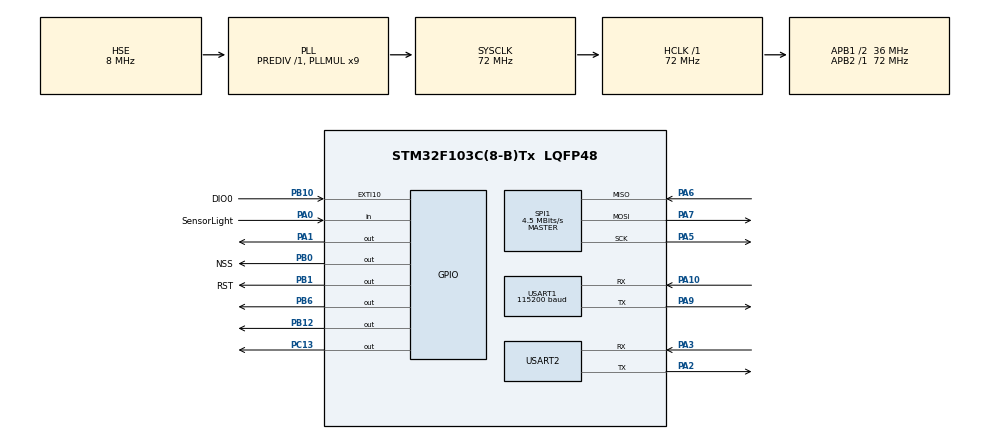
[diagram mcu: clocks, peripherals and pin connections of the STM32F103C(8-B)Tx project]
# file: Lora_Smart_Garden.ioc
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Dma.Request0=USART1_RX
Dma.Request1=USART2_RX
Dma.USART1_RX.0.Direction=DMA_PERIPH_TO_MEMORY
Dma.USART1_RX.0.Instance=DMA1_Channel5
Dma.USART1_RX.0.MemDataAlignment=DMA_MDATAALIGN_BYTE
Dma.USART1_RX.0.MemInc=DMA_MINC_ENABLE
Dma.USART1_RX.0.Mode=DMA_CIRCULAR
Dma.USART1_RX.0.PeriphDataAlignment=DMA_PDATAALIGN_BYTE
Dma.USART1_RX.0.PeriphInc=DMA_PINC_DISABLE
Dma.USART1_RX.0.Priority=DMA_PRIORITY_LOW
Dma.USART2_RX.1.Direction=DMA_PERIPH_TO_MEMORY
Dma.USART2_RX.1.Instance=DMA1_Channel6
Dma.USART2_RX.1.MemDataAlignment=DMA_MDATAALIGN_BYTE
Dma.USART2_RX.1.MemInc=DMA_MINC_ENABLE
Dma.USART2_RX.1.Mode=DMA_CIRCULAR
Dma.USART2_RX.1.PeriphDataAlignment=DMA_PDATAALIGN_BYTE
Dma.USART2_RX.1.PeriphInc=DMA_PINC_DISABLE
Dma.USART2_RX.1.Priority=DMA_PRIORITY_LOW
IWDG.Prescaler=IWDG_PRESCALER_64
IWDG.Reload=1874
Mcu.Family=STM32F1
Mcu.Name=STM32F103C(8-B)Tx
Mcu.Package=LQFP48
NVIC.DMA1_Channel5_IRQn=true\:0\:0\:false\:false\:true\:false\:true\:true
NVIC.DMA1_Channel6_IRQn=true\:0\:0\:false\:false\:true\:false\:true\:true
NVIC.EXTI15_10_IRQn=true\:0\:0\:false\:false\:true\:true\:true\:true
NVIC.PriorityGroup=NVIC_PRIORITYGROUP_4
NVIC.TIM3_IRQn=true\:15\:0\:false\:false\:true\:false\:true\:true
NVIC.TimeBase=TIM3_IRQn
NVIC.TimeBaseIP=TIM3
NVIC.USART1_IRQn=true\:0\:0\:false\:false\:true\:true\:true\:true
PA0-WKUP.GPIO_Label=SensorLight
PA0-WKUP.GPIO_PuPd=GPIO_NOPULL
PA0-WKUP.Signal=GPIO_Input
PA1.Signal=GPIO_Output
PA10.Mode=Asynchronous
PA10.Signal=USART1_RX
PA13.Mode=Serial_Wire
PA13.Signal=SYS_JTMS-SWDIO
PA14.Mode=Serial_Wire
PA14.Signal=SYS_JTCK-SWCLK
PA2.Mode=Asynchronous
PA2.Signal=USART2_TX
PA3.Mode=Asynchronous
PA3.Signal=USART2_RX
PA5.Mode=Full_Duplex_Master
PA5.Signal=SPI1_SCK
PA6.Mode=Full_Duplex_Master
PA6.Signal=SPI1_MISO
PA7.Mode=Full_Duplex_Master
PA7.Signal=SPI1_MOSI
PA9.Mode=Asynchronous
PA9.Signal=USART1_TX
PB0.GPIO_Label=NSS
PB0.PinState=GPIO_PIN_SET
PB0.Signal=GPIO_Output
PB1.GPIO_Label=RST
PB1.PinState=GPIO_PIN_SET
PB1.Signal=GPIO_Output
PB10.GPIO_Label=DIO0
PB10.Signal=GPXTI10
PB12.GPIO_PuPd=GPIO_PULLDOWN
PB12.Signal=GPIO_Output
PB6.GPIO_PuPd=GPIO_PULLDOWN
PB6.Signal=GPIO_Output
PC13-TAMPER-RTC.Signal=GPIO_Output
PD0-OSC_IN.Mode=HSE-External-Oscillator
PD0-OSC_IN.Signal=RCC_OSC_IN
PD1-OSC_OUT.Mode=HSE-External-Oscillator
PD1-OSC_OUT.Signal=RCC_OSC_OUT
ProjectManager.HeapSize=0x200
ProjectManager.StackSize=0x400
ProjectManager.TargetToolchain=STM32CubeIDE
RCC.AHBFreq_Value=72000000
RCC.APB1CLKDivider=RCC_HCLK_DIV2
RCC.APB1Freq_Value=36000000
RCC.APB1TimFreq_Value=72000000
RCC.APB2Freq_Value=72000000
RCC.APB2TimFreq_Value=72000000
RCC.HCLKFreq_Value=72000000
RCC.PLLMUL=RCC_PLL_MUL9
RCC.PLLSourceVirtual=RCC_PLLSOURCE_HSE
RCC.SYSCLKFreq_VALUE=72000000
RCC.SYSCLKSource=RCC_SYSCLKSOURCE_PLLCLK
RCC.USBFreq_Value=72000000
SPI1.BaudRatePrescaler=SPI_BAUDRATEPRESCALER_16
SPI1.CalculateBaudRate=4.5 MBits/s
SPI1.DataSize=SPI_DATASIZE_8BIT
SPI1.Direction=SPI_DIRECTION_2LINES
SPI1.Mode=SPI_MODE_MASTER
SPI1.VirtualType=VM_MASTER
TIM1.Period=0xffff-1
TIM1.Prescaler=72-1
USART1.BaudRate=115200
USART1.VirtualMode=VM_ASYNC
USART1.WordLength=WORDLENGTH_8B
USART2.VirtualMode=VM_ASYNC
USART2.WordLength=WORDLENGTH_8B
VP_IWDG_VS_IWDG.Mode=IWDG_Activate
VP_SYS_VS_tim3.Mode=TIM3
VP_TIM1_VS_ClockSourceINT.Mode=Internal
board=custom

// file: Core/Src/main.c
/* USER CODE BEGIN Header */
/**
  ******************************************************************************
  * @file           : main.c
  * @brief          : Main program body
  ******************************************************************************
  * @attention
  *
  * Copyright (c) 2024 STMicroelectronics.
  * All rights reserved.
  *
  * This software is licensed under terms that can be found in the LICENSE file
  * in the root directory of this software component.
  * If no LICENSE file comes with this software, it is provided AS-IS.
  *
  ******************************************************************************
  */
/* USER CODE END Header */
#include "main.h"
#include "dma.h"
#include "iwdg.h"
#include "spi.h"
#include "tim.h"
#include "usart.h"
#include "gpio.h"

/* USER CODE BEGIN Includes */
#include "LoRa.h"
#include "dht.h"
/* USER CODE END Includes */

/* USER CODE BEGIN PV */
LoRa myLoRa;
uint8_t LoraState = 0;
static uint8_t TxData[10] = {0};
static uint8_t RxData[10] = {0};
static uint8_t RxDataUart[8];
static uint8_t TxDataUart[8];
uint8_t Rx_start = 0;
volatile static uint8_t ledData;
DHT_DataTypedef DHT_DATA;

uint8_t LocalAddress = 0x02; /* Addess of this devince (Slaver)*/
uint8_t DestinationAddress = 0x01; /* destination address is address of Master (ESP32)*/

/* USER CODE END PV */

void SystemClock_Config(void);

int main(void)
{

  /* MCU Configuration--------------------------------------------------------*/

  /* Reset of all peripherals, Initializes the Flash interface and the Systick. */
  HAL_Init();

  /* Configure the system clock */
  SystemClock_Config();

  /* Initialize all configured peripherals */
  MX_GPIO_Init();
  MX_DMA_Init();
  MX_SPI1_Init();
  MX_USART1_UART_Init();
  MX_IWDG_Init();
  MX_TIM1_Init();
  MX_USART2_UART_Init();
  /* USER CODE BEGIN 2 */
  uint8_t ret;
//  HAL_UART_Receive_IT(&huart1, RxDataUart, 8);
  HAL_UART_Receive_DMA(&huart2, RxDataUart, 8);
  myLoRa = newLoRa();

  myLoRa.CS_port         = NSS_GPIO_Port;
  myLoRa.CS_pin          = NSS_Pin;
  myLoRa.reset_port      = RST_GPIO_Port;
  myLoRa.reset_pin       = RST_Pin;
  myLoRa.DIO0_port       = DIO0_GPIO_Port;
  myLoRa.DIO0_pin        = DIO0_Pin;
  myLoRa.hSPIx           = &hspi1;

  if(LoRa_init(&myLoRa))
  {
	  LoraState = 1;
  }
  LoRa_startReceiving(&myLoRa);
//  HAL_Delay(2000);
//  TxData[0] = LocalAddress;
//  for(index = 1; index < 10; index++)
//  {
//	  TxData[index] = (uint8_t)str[index-1];
//  }
  HAL_TIM_Base_Start(&htim1);
  /* USER CODE END 2 */

  /* Infinite loop */
  while (1)
  {

    /* USER CODE BEGIN 3 */

	  if(LoRa_transmit(&myLoRa, TxData, 8, 1000))
	  {
	  	  HAL_Delay(150);
	  	  HAL_GPIO_TogglePin(GPIOC, GPIO_PIN_13);
	  	  HAL_IWDG_Refresh(&hiwdg);
	  	  Rx_start = 0;
	  };

	  ret = HAL_UART_Transmit(&huart1, TxDataUart, 8, 1000);
	  if(ret == HAL_OK)
	  {
//		  HAL_GPIO_TogglePin(GPIOB, GPIO_PIN_12);
	  }
	  TxData[0] = 0x01; 			// Address receiver;
	  TxData[1] = RxDataUart[0];  	//  Sensor Light
	  TxData[2] = RxDataUart[1];  	// Sensor earth humidity
	  TxData[3] = RxDataUart[2];  	// Air Temperature
	  TxData[4] = RxDataUart[3];  	// Air humidity
	  TxData[5] = RxDataUart[4];  	// Light State
	  TxData[6] = RxDataUart[5];  	// Motor State
	  TxData[7] = RxDataUart[6];  	// Fan State
  }
  /* USER CODE END 3 */
}

void SystemClock_Config(void)
{
  RCC_OscInitTypeDef RCC_OscInitStruct = {0};
  RCC_ClkInitTypeDef RCC_ClkInitStruct = {0};

  /** Initializes the RCC Oscillators according to the specified parameters
  * in the RCC_OscInitTypeDef structure.
  */
  RCC_OscInitStruct.OscillatorType = RCC_OSCILLATORTYPE_LSI|RCC_OSCILLATORTYPE_HSE;
  RCC_OscInitStruct.HSEState = RCC_HSE_ON;
  RCC_OscInitStruct.HSEPredivValue = RCC_HSE_PREDIV_DIV1;
  RCC_OscInitStruct.HSIState = RCC_HSI_ON;
  RCC_OscInitStruct.LSIState = RCC_LSI_ON;
  RCC_OscInitStruct.PLL.PLLState = RCC_PLL_ON;
  RCC_OscInitStruct.PLL.PLLSource = RCC_PLLSOURCE_HSE;
  RCC_OscInitStruct.PLL.PLLMUL = RCC_PLL_MUL9;
  if (HAL_RCC_OscConfig(&RCC_OscInitStruct) != HAL_OK)
  {
    Error_Handler();
  }

  /** Initializes the CPU, AHB and APB buses clocks
  */
  RCC_ClkInitStruct.ClockType = RCC_CLOCKTYPE_HCLK|RCC_CLOCKTYPE_SYSCLK
                              |RCC_CLOCKTYPE_PCLK1|RCC_CLOCKTYPE_PCLK2;
  RCC_ClkInitStruct.SYSCLKSource = RCC_SYSCLKSOURCE_PLLCLK;
  RCC_ClkInitStruct.AHBCLKDivider = RCC_SYSCLK_DIV1;
  RCC_ClkInitStruct.APB1CLKDivider = RCC_HCLK_DIV2;
  RCC_ClkInitStruct.APB2CLKDivider = RCC_HCLK_DIV1;

  if (HAL_RCC_ClockConfig(&RCC_ClkInitStruct, FLASH_LATENCY_2) != HAL_OK)
  {
    Error_Handler();
  }
}

/* USER CODE BEGIN 4 */

void HAL_GPIO_EXTI_Callback(uint16_t GPIO_Pin)
{

	if(GPIO_Pin == DIO0_Pin)
	{
		Rx_start = 1;
		LoRa_receive(&myLoRa,RxData,8);
		if(ledData != RxData[1])
		{
			ledData = RxData[1];
			HAL_GPIO_WritePin(GPIOB, GPIO_PIN_12, RxData[1]);

//			HAL_GPIO_TogglePin(GPIOB, GPIO_PIN_12);
		}
		TxDataUart[0] = RxData[1]; // user option
		TxDataUart[1] = RxData[2]; // light control
		TxDataUart[2] = RxData[3]; // motor control
		TxDataUart[3] = RxData[4]; // fan control
//		HAL_GPIO_TogglePin(GPIOB, GPIO_PIN_12);
	}

//	HAL_GPIO_TogglePin(GPIOB, GPIO_PIN_12);
}

//void HAL_UART_RxCpltCallback(UART_HandleTypeDef *huart)
//{
//	if(huart->Instance == huart1.Instance)
//	{
//		HAL_UART_Receive_IT(&huart1, RxDataUart, 4);
//		TxData[0] = 0x01; 		// Address receiver;
//		TxData[1] = RxDataUart[0];  //  Sensor Light
//		TxData[2] = RxDataUart[1];  // Sensor earth humidity
//		TxData[3] = RxDataUart[2];  // Air Temperature
//		TxData[4] = RxDataUart[3];  // Air humidity
//		HAL_GPIO_TogglePin(GPIOB, GPIO_PIN_12);
//	}
//}

/* USER CODE END 4 */

void HAL_TIM_PeriodElapsedCallback(TIM_HandleTypeDef *htim)
{
  if (htim->Instance == TIM3) {
    HAL_IncTick();
  }
}

void Error_Handler(void)
{
  __disable_irq();
  while (1)
  {
  }
}
